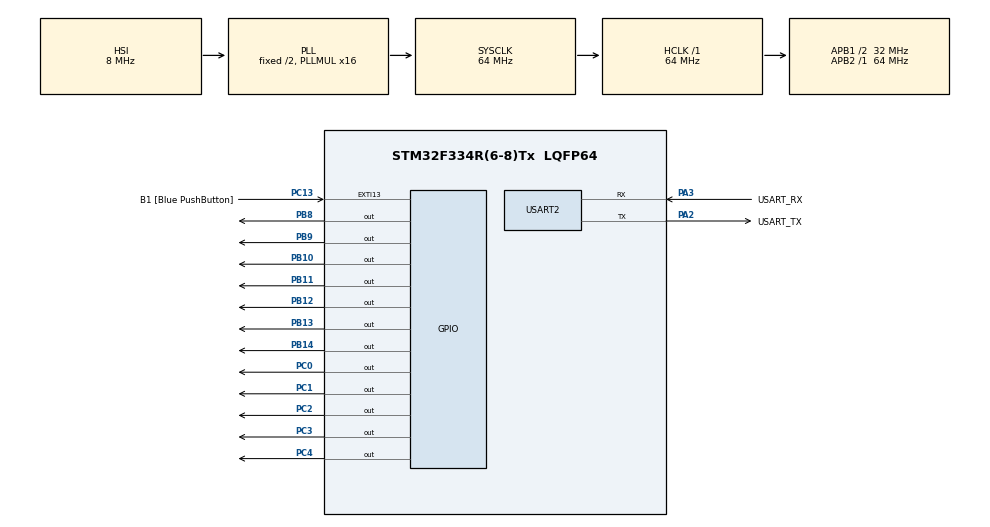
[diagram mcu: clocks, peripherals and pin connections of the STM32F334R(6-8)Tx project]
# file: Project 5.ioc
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Mcu.Family=STM32F3
Mcu.Name=STM32F334R(6-8)Tx
Mcu.Package=LQFP64
NVIC.PriorityGroup=NVIC_PRIORITYGROUP_0
PA13.GPIO_Label=TMS
PA13.Mode=Serial_Wire
PA13.Signal=SYS_JTMS-SWDIO
PA14.GPIO_Label=TCK
PA14.Mode=Serial_Wire
PA14.Signal=SYS_JTCK-SWCLK
PA2.GPIO_Label=USART_TX
PA2.Mode=Asynchronous
PA2.Signal=USART2_TX
PA3.GPIO_Label=USART_RX
PA3.Mode=Asynchronous
PA3.Signal=USART2_RX
PB10.GPIO_ModeDefaultOutputPP=GPIO_MODE_OUTPUT_OD
PB10.GPIO_PuPd=GPIO_NOPULL
PB10.Signal=GPIO_Output
PB11.GPIO_ModeDefaultOutputPP=GPIO_MODE_OUTPUT_OD
PB11.GPIO_PuPd=GPIO_NOPULL
PB11.Signal=GPIO_Output
PB12.GPIO_ModeDefaultOutputPP=GPIO_MODE_OUTPUT_OD
PB12.GPIO_PuPd=GPIO_NOPULL
PB12.Signal=GPIO_Output
PB13.GPIO_ModeDefaultOutputPP=GPIO_MODE_OUTPUT_OD
PB13.GPIO_PuPd=GPIO_NOPULL
PB13.Signal=GPIO_Output
PB14.GPIO_ModeDefaultOutputPP=GPIO_MODE_OUTPUT_OD
PB14.GPIO_PuPd=GPIO_NOPULL
PB14.Signal=GPIO_Output
PB3.GPIO_Label=SWO
PB3.Signal=SYS_JTDO-TRACESWO
PB8.GPIO_ModeDefaultOutputPP=GPIO_MODE_OUTPUT_OD
PB8.GPIO_PuPd=GPIO_NOPULL
PB8.Signal=GPIO_Output
PB9.GPIO_ModeDefaultOutputPP=GPIO_MODE_OUTPUT_OD
PB9.GPIO_PuPd=GPIO_NOPULL
PB9.Signal=GPIO_Output
PC0.GPIO_ModeDefaultOutputPP=GPIO_MODE_OUTPUT_PP
PC0.GPIO_PuPd=GPIO_NOPULL
PC0.Signal=GPIO_Output
PC1.GPIO_ModeDefaultOutputPP=GPIO_MODE_OUTPUT_PP
PC1.GPIO_PuPd=GPIO_NOPULL
PC1.Signal=GPIO_Output
PC13.GPIO_Label=B1 [Blue PushButton]
PC13.GPIO_ModeDefaultEXTI=GPIO_MODE_IT_FALLING
PC13.Signal=GPXTI13
PC14\ /\ OSC32_IN.Mode=LSE-External-Oscillator
PC14\ /\ OSC32_IN.Signal=RCC_OSC32_IN
PC15\ /\ OSC32_OUT.GPIO_Label=RCC_OSC32_OUT
PC15\ /\ OSC32_OUT.Mode=LSE-External-Oscillator
PC15\ /\ OSC32_OUT.Signal=RCC_OSC32_OUT
PC2.GPIO_ModeDefaultOutputPP=GPIO_MODE_OUTPUT_PP
PC2.GPIO_PuPd=GPIO_NOPULL
PC2.Signal=GPIO_Output
PC3.GPIO_ModeDefaultOutputPP=GPIO_MODE_OUTPUT_PP
PC3.GPIO_PuPd=GPIO_NOPULL
PC3.Signal=GPIO_Output
PC4.GPIO_ModeDefaultOutputPP=GPIO_MODE_OUTPUT_PP
PC4.GPIO_PuPd=GPIO_NOPULL
PC4.Signal=GPIO_Output
PF0\ /\ OSC_IN.Mode=HSE-External-Clock-Source
PF0\ /\ OSC_IN.Signal=RCC_OSC_IN
PF1\ /\ OSC_OUT.Signal=RCC_OSC_OUT
ProjectManager.HeapSize=0x200
ProjectManager.StackSize=0x400
ProjectManager.TargetToolchain=STM32CubeIDE
RCC.AHBFreq_Value=64000000
RCC.APB1CLKDivider=RCC_HCLK_DIV2
RCC.APB1Freq_Value=32000000
RCC.APB1TimFreq_Value=64000000
RCC.APB2Freq_Value=64000000
RCC.APB2TimFreq_Value=64000000
RCC.CortexFreq_Value=64000000
RCC.FLatency-AdvancedSettings=FLASH_LATENCY_2
RCC.HCLKFreq_Value=64000000
RCC.HSE_VALUE=8000000
RCC.HSI_VALUE=8000000
RCC.PLLMUL=RCC_PLL_MUL16
RCC.SYSCLKFreq_VALUE=64000000
RCC.SYSCLKSourceVirtual=RCC_SYSCLKSOURCE_PLLCLK
USART2.VirtualMode-Asynchronous=VM_ASYNC
board=NUCLEO-F334R8

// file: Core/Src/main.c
/* USER CODE BEGIN Header */
/**
  ******************************************************************************
  * @file           : main.c
  * @brief          : Main program body
  ******************************************************************************
  * @attention
  *
  * Copyright (c) 2022 STMicroelectronics.
  * All rights reserved.
  *
  * This software is licensed under terms that can be found in the LICENSE file
  * in the root directory of this software component.
  * If no LICENSE file comes with this software, it is provided AS-IS.
  *
  ******************************************************************************
  */
/* USER CODE END Header */
#include "main.h"

UART_HandleTypeDef huart2;

void SystemClock_Config(void);
static void MX_GPIO_Init(void);
static void MX_USART2_UART_Init(void);

int main(void)
{

  /* MCU Configuration--------------------------------------------------------*/

  /* Reset of all peripherals, Initializes the Flash interface and the Systick. */
  HAL_Init();

  /* Configure the system clock */
  SystemClock_Config();

  /* Initialize all configured peripherals */
  MX_GPIO_Init();
  MX_USART2_UART_Init();
  /* USER CODE BEGIN 2 */
//  #define LEDn1 GPIO_PIN_8
//  #define LEDn2 GPIO_PIN_9
//  #define LEDn3 GPIO_PIN_10
//  #define LEDn4 GPIO_PIN_11
//  #define LEDn5 GPIO_PIN_12
//  #define LEDn6 GPIO_PIN_13
//  #define LEDn7 GPIO_PIN_14
//  #define COL1 GPIO_PIN_0
//  #define COL2 GPIO_PIN_1
//  #define COL3 GPIO_PIN_2
//  #define COL4 GPIO_PIN_3
//  #define COL5 GPIO_PIN_4
  /* USER CODE END 2 */

  /* Infinite loop */
  /* USER CODE BEGIN WHILE */
    while (1)
    {
    	GPIOC->ODR = 1;
    	GPIOB->ODR = ~(16<<8);
    	HAL_Delay(1);
    	GPIOC->ODR = 2;
    	GPIOB->ODR = ~(38<<8);
    	HAL_Delay(1);
    	GPIOC->ODR = 4;
    	GPIOB->ODR = ~(32<<8);
    	HAL_Delay(1);
    	GPIOC->ODR = 8;
    	GPIOB->ODR = ~(38<<8);
    	HAL_Delay(1);
    	GPIOC->ODR = 16;
    	GPIOB->ODR = ~(16<<8);
    	HAL_Delay(1);

    /* USER CODE END WHILE */

    }
}

void SystemClock_Config(void)
{
  RCC_OscInitTypeDef RCC_OscInitStruct = {0};
  RCC_ClkInitTypeDef RCC_ClkInitStruct = {0};

  /** Initializes the RCC Oscillators according to the specified parameters
  * in the RCC_OscInitTypeDef structure.
  */
  RCC_OscInitStruct.OscillatorType = RCC_OSCILLATORTYPE_HSI;
  RCC_OscInitStruct.HSIState = RCC_HSI_ON;
  RCC_OscInitStruct.HSICalibrationValue = RCC_HSICALIBRATION_DEFAULT;
  RCC_OscInitStruct.PLL.PLLState = RCC_PLL_ON;
  RCC_OscInitStruct.PLL.PLLSource = RCC_PLLSOURCE_HSI;
  RCC_OscInitStruct.PLL.PLLMUL = RCC_PLL_MUL16;
  if (HAL_RCC_OscConfig(&RCC_OscInitStruct) != HAL_OK)
  {
    Error_Handler();
  }

  /** Initializes the CPU, AHB and APB buses clocks
  */
  RCC_ClkInitStruct.ClockType = RCC_CLOCKTYPE_HCLK|RCC_CLOCKTYPE_SYSCLK
                              |RCC_CLOCKTYPE_PCLK1|RCC_CLOCKTYPE_PCLK2;
  RCC_ClkInitStruct.SYSCLKSource = RCC_SYSCLKSOURCE_PLLCLK;
  RCC_ClkInitStruct.AHBCLKDivider = RCC_SYSCLK_DIV1;
  RCC_ClkInitStruct.APB1CLKDivider = RCC_HCLK_DIV2;
  RCC_ClkInitStruct.APB2CLKDivider = RCC_HCLK_DIV1;

  if (HAL_RCC_ClockConfig(&RCC_ClkInitStruct, FLASH_LATENCY_2) != HAL_OK)
  {
    Error_Handler();
  }
}

static void MX_USART2_UART_Init(void)
{

  huart2.Instance = USART2;
  huart2.Init.BaudRate = 38400;
  huart2.Init.WordLength = UART_WORDLENGTH_8B;
  huart2.Init.StopBits = UART_STOPBITS_1;
  huart2.Init.Parity = UART_PARITY_NONE;
  huart2.Init.Mode = UART_MODE_TX_RX;
  huart2.Init.HwFlowCtl = UART_HWCONTROL_NONE;
  huart2.Init.OverSampling = UART_OVERSAMPLING_16;
  huart2.Init.OneBitSampling = UART_ONE_BIT_SAMPLE_DISABLE;
  huart2.AdvancedInit.AdvFeatureInit = UART_ADVFEATURE_NO_INIT;
  if (HAL_UART_Init(&huart2) != HAL_OK)
  {
    Error_Handler();
  }

}

static void MX_GPIO_Init(void)
{
  GPIO_InitTypeDef GPIO_InitStruct = {0};

  /* GPIO Ports Clock Enable */
  __HAL_RCC_GPIOC_CLK_ENABLE();
  __HAL_RCC_GPIOF_CLK_ENABLE();
  __HAL_RCC_GPIOA_CLK_ENABLE();
  __HAL_RCC_GPIOB_CLK_ENABLE();

  /*Configure GPIO pin Output Level */
  HAL_GPIO_WritePin(GPIOC, GPIO_PIN_0|GPIO_PIN_1|GPIO_PIN_2|GPIO_PIN_3
                          |GPIO_PIN_4, GPIO_PIN_RESET);

  /*Configure GPIO pin Output Level */
  HAL_GPIO_WritePin(GPIOB, GPIO_PIN_10|GPIO_PIN_11|GPIO_PIN_12|GPIO_PIN_13
                          |GPIO_PIN_14|GPIO_PIN_8|GPIO_PIN_9, GPIO_PIN_RESET);

  /*Configure GPIO pin : B1_Pin */
  GPIO_InitStruct.Pin = B1_Pin;
  GPIO_InitStruct.Mode = GPIO_MODE_IT_FALLING;
  GPIO_InitStruct.Pull = GPIO_NOPULL;
  HAL_GPIO_Init(B1_GPIO_Port, &GPIO_InitStruct);

  /*Configure GPIO pins : PC0 PC1 PC2 PC3
                           PC4 */
  GPIO_InitStruct.Pin = GPIO_PIN_0|GPIO_PIN_1|GPIO_PIN_2|GPIO_PIN_3
                          |GPIO_PIN_4;
  GPIO_InitStruct.Mode = GPIO_MODE_OUTPUT_PP;
  GPIO_InitStruct.Pull = GPIO_NOPULL;
  GPIO_InitStruct.Speed = GPIO_SPEED_FREQ_LOW;
  HAL_GPIO_Init(GPIOC, &GPIO_InitStruct);

  /*Configure GPIO pins : PB10 PB11 PB12 PB13
                           PB14 PB8 PB9 */
  GPIO_InitStruct.Pin = GPIO_PIN_10|GPIO_PIN_11|GPIO_PIN_12|GPIO_PIN_13
                          |GPIO_PIN_14|GPIO_PIN_8|GPIO_PIN_9;
  GPIO_InitStruct.Mode = GPIO_MODE_OUTPUT_OD;
  GPIO_InitStruct.Pull = GPIO_NOPULL;
  GPIO_InitStruct.Speed = GPIO_SPEED_FREQ_LOW;
  HAL_GPIO_Init(GPIOB, &GPIO_InitStruct);

}

void Error_Handler(void)
{
  __disable_irq();
  while (1)
  {
  }
}
